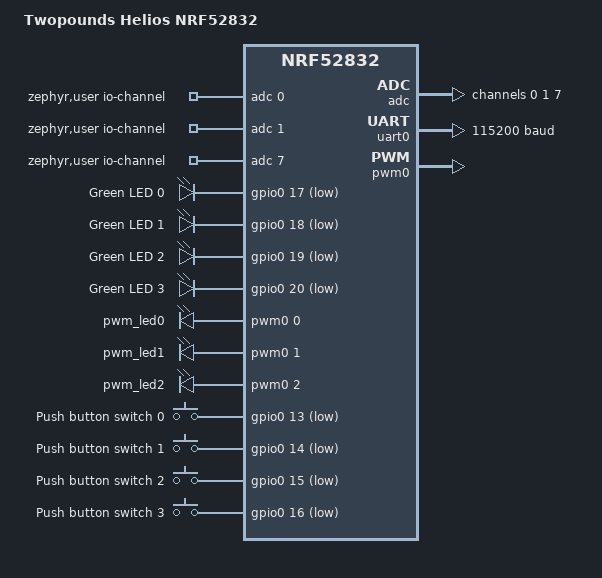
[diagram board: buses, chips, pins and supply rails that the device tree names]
/*
 * Copyright (c) 2017 Shawn Nock <shawn@monadnock.ca>
 * Copyright (c) 2017 Linaro Limited
 *
 * SPDX-License-Identifier: Apache-2.0
 */

 /dts-v1/;
 #include <nordic/nrf52832_qfaa.dtsi>
 #include "helios_nrf52832-pinctrl.dtsi"
 
 / {
	 model = "Twopounds Helios NRF52832";
	 compatible = "twopounds,helios-nrf52832";
 
	 zephyr,user {
		io-channels = <&adc 0>, <&adc 1>, <&adc 7>;
	};


	 chosen {
		 zephyr,console = &uart0;
		 zephyr,shell-uart = &uart0;
		 zephyr,uart-mcumgr = &uart0;
		 zephyr,bt-mon-uart = &uart0;
		 zephyr,bt-c2h-uart = &uart0;
		 zephyr,sram = &sram0;
		 zephyr,flash = &flash0;
		 zephyr,code-partition = &slot0_partition;
	 };
 
	 leds {
		 compatible = "gpio-leds";
		 led0: led_0 {
			 gpios = <&gpio0 17 GPIO_ACTIVE_LOW>;
			 label = "Green LED 0";
		 };
		 led1: led_1 {
			 gpios = <&gpio0 18 GPIO_ACTIVE_LOW>;
			 label = "Green LED 1";
		 };
		 led2: led_2 {
			 gpios = <&gpio0 19 GPIO_ACTIVE_LOW>;
			 label = "Green LED 2";
		 };
		 led3: led_3 {
			 gpios = <&gpio0 20 GPIO_ACTIVE_LOW>;
			 label = "Green LED 3";
		 };
	 };
 
	 pwmleds {
		 compatible = "pwm-leds";
		 pwm_led0: pwm_led_0 {
			 pwms = <&pwm0 0 PWM_MSEC(20) PWM_POLARITY_INVERTED>;
		 };
		 pwm_led1: pwm_led_1 {
			pwms = <&pwm0 1 PWM_MSEC(20) PWM_POLARITY_INVERTED>;
		};
		pwm_led2: pwm_led_2 {
			pwms = <&pwm0 2 PWM_MSEC(20) PWM_POLARITY_INVERTED>;
		};
	 };
 
	 buttons {
		 compatible = "gpio-keys";
		 button0: button_0 {
			 gpios = <&gpio0 13 (GPIO_PULL_UP | GPIO_ACTIVE_LOW)>;
			 label = "Push button switch 0";
		 };
		 button1: button_1 {
			 gpios = <&gpio0 14 (GPIO_PULL_UP | GPIO_ACTIVE_LOW)>;
			 label = "Push button switch 1";
		 };
		 button2: button_2 {
			 gpios = <&gpio0 15 (GPIO_PULL_UP | GPIO_ACTIVE_LOW)>;
			 label = "Push button switch 2";
		 };
		 button3: button_3 {
			 gpios = <&gpio0 16 (GPIO_PULL_UP | GPIO_ACTIVE_LOW)>;
			 label = "Push button switch 3";
		 };
	 };
 
	 /* These aliases are provided for compatibility with samples */
	 aliases {
		 led0 = &led0;
		 led1 = &led1;
		 led2 = &led2;
		 led3 = &led3;
		 pwm-led0 = &pwm_led0;
		 pwm-led1 = &pwm_led1;
		 pwm-led2 = &pwm_led2;

		 sw0 = &button0;
		 sw1 = &button1;
		 sw2 = &button2;
		 sw3 = &button3;
		 bootloader-led0 = &led0;
		 mcuboot-button0 = &button0;
		 mcuboot-led0 = &led0;
		 watchdog0 = &wdt0;
	 };
 };
 
 &adc {
	 status = "okay";
 };
 
 &gpiote {
	 status = "okay";
 };
 
 &gpio0 {
	 status = "okay";
 };
 
 arduino_serial: &uart0 {
	 status = "okay";
	 compatible = "nordic,nrf-uarte";
	 current-speed = <115200>;
	 pinctrl-0 = <&uart0_default>;
	 pinctrl-1 = <&uart0_sleep>;
	 pinctrl-names = "default", "sleep";
 };
 

 &pwm0 {
	 status = "okay";
	 pinctrl-0 = <&pwm0_default>;
	 pinctrl-1 = <&pwm0_sleep>;
	 pinctrl-names = "default", "sleep";
 };
 &adc {
	#address-cells = <1>;
	#size-cells = <0>;

	channel@0 {
		reg = <0>;
		zephyr,gain = "ADC_GAIN_1_6";
		zephyr,reference = "ADC_REF_INTERNAL";
		zephyr,acquisition-time = <ADC_ACQ_TIME_DEFAULT>;
		zephyr,input-positive = <NRF_SAADC_AIN1>; /* P0.03 */
		zephyr,resolution = <12>;
	};

	channel@1 {
		reg = <1>;
		zephyr,gain = "ADC_GAIN_1_6";
		zephyr,reference = "ADC_REF_INTERNAL";
		zephyr,acquisition-time = <ADC_ACQ_TIME_DEFAULT>;
		zephyr,input-positive = <NRF_SAADC_VDD>;
		zephyr,resolution = <14>;
		zephyr,oversampling = <8>;
	};

	channel@7 {
		reg = <7>;
		zephyr,gain = "ADC_GAIN_1_5";
		zephyr,reference = "ADC_REF_VDD_1_4";
		zephyr,vref-mv = <750>;
		zephyr,acquisition-time = <ADC_ACQ_TIME_DEFAULT>;
		zephyr,input-positive = <NRF_SAADC_AIN6>; /* P0.30 */
		zephyr,input-negative = <NRF_SAADC_AIN7>; /* P0.31 */
		zephyr,resolution = <12>;
	};
};

 &flash0 {
 
	 partitions {
		 compatible = "fixed-partitions";
		 #address-cells = <1>;
		 #size-cells = <1>;
 
		 boot_partition: partition@0 {
			 label = "mcuboot";
			 reg = <0x00000000 0xc000>;
		 };
		 slot0_partition: partition@c000 {
			 label = "image-0";
			 reg = <0x0000C000 0x37000>;
		 };
		 slot1_partition: partition@43000 {
			 label = "image-1";
			 reg = <0x00043000 0x37000>;
		 };
		 storage_partition: partition@7a000 {
			 label = "storage";
			 reg = <0x0007a000 0x00006000>;
		 };
	 };
 };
